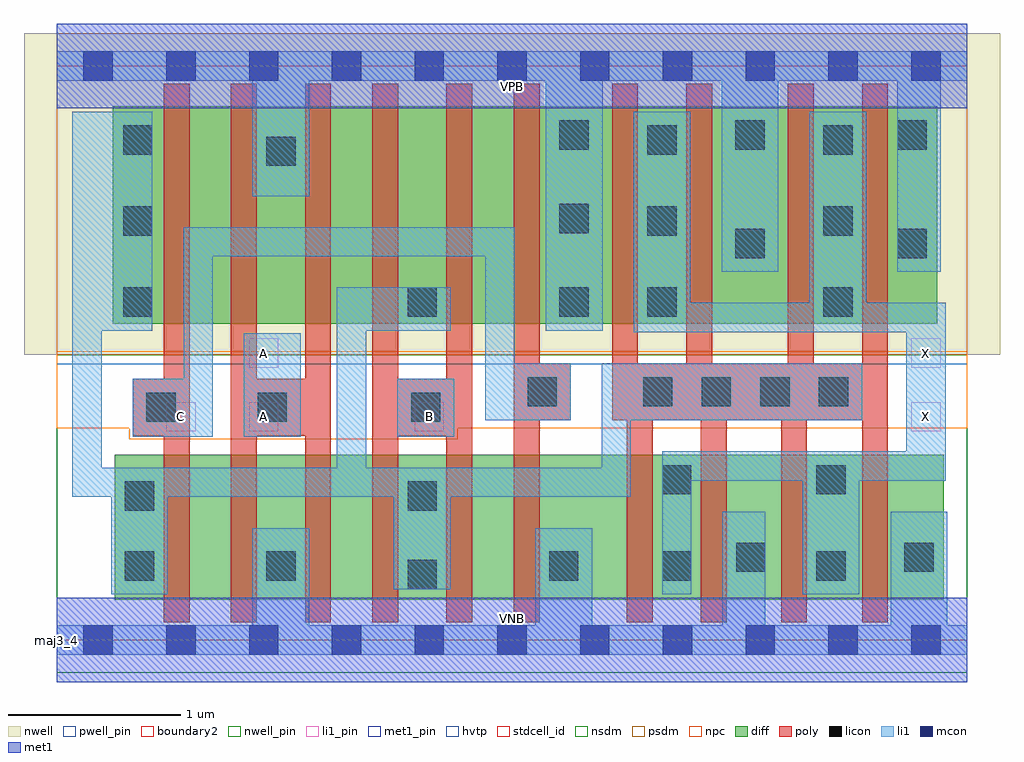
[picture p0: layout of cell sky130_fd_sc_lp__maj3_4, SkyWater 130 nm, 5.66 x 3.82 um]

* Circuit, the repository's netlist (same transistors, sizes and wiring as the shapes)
* Copyright 2020 The SkyWater PDK Authors
*
* Licensed under the Apache License, Version 2.0 (the "License");
* you may not use this file except in compliance with the License.
* You may obtain a copy of the License at
*
*     https://www.apache.org/licenses/LICENSE-2.0
*
* Unless required by applicable law or agreed to in writing, software
* distributed under the License is distributed on an "AS IS" BASIS,
* WITHOUT WARRANTIES OR CONDITIONS OF ANY KIND, either express or implied.
* See the License for the specific language governing permissions and
* limitations under the License.
*
* SPDX-License-Identifier: Apache-2.0

.SUBCKT sky130_fd_sc_lp__maj3_4 A B C VGND VNB VPB VPWR X
*.PININFO A:I B:I C:I VGND:I VNB:I VPB:I VPWR:I X:O
MMIN2 X y VGND VNB sky130_fd_pr__nfet_01v8 m=4 w=0.84U l=0.15U mult=1 sa=0.265
+ sb=0.265 sd=0.28 area=0.063 perim=1.14
MMN10 y B sndNBa VNB sky130_fd_pr__nfet_01v8 m=1 w=0.84U l=0.15U mult=1 sa=0.265
+ sb=0.265 sd=0.28 area=0.063 perim=1.14
MMN11 sndNBa A VGND VNB sky130_fd_pr__nfet_01v8 m=1 w=0.84U l=0.15U mult=1 sa=0.265
+ sb=0.265 sd=0.28 area=0.063 perim=1.14
MMN20 y B sndNBc VNB sky130_fd_pr__nfet_01v8 m=1 w=0.84U l=0.15U mult=1 sa=0.265
+ sb=0.265 sd=0.28 area=0.063 perim=1.14
MMN21 sndNBc C VGND VNB sky130_fd_pr__nfet_01v8 m=1 w=0.84U l=0.15U mult=1 sa=0.265
+ sb=0.265 sd=0.28 area=0.063 perim=1.14
MMN30 y C sndNCa VNB sky130_fd_pr__nfet_01v8 m=1 w=0.84U l=0.15U mult=1 sa=0.265
+ sb=0.265 sd=0.28 area=0.063 perim=1.14
MMN31 sndNCa A VGND VNB sky130_fd_pr__nfet_01v8 m=1 w=0.84U l=0.15U mult=1 sa=0.265
+ sb=0.265 sd=0.28 area=0.063 perim=1.14
MMIP2 X y VPWR VPB sky130_fd_pr__pfet_01v8_hvt m=4 w=1.26U l=0.15U mult=1 sa=0.265
+ sb=0.265 sd=0.28 area=0.063 perim=1.14
MMP10 VPWR A sndPAb VPB sky130_fd_pr__pfet_01v8_hvt m=1 w=1.26U l=0.15U mult=1
+ sa=0.265 sb=0.265 sd=0.28 area=0.063 perim=1.14
MMP11 sndPAb B y VPB sky130_fd_pr__pfet_01v8_hvt m=1 w=1.26U l=0.15U mult=1 sa=0.265
+ sb=0.265 sd=0.28 area=0.063 perim=1.14
MMP20 VPWR C sndPCb VPB sky130_fd_pr__pfet_01v8_hvt m=1 w=1.26U l=0.15U mult=1
+ sa=0.265 sb=0.265 sd=0.28 area=0.063 perim=1.14
MMP21 sndPCb B y VPB sky130_fd_pr__pfet_01v8_hvt m=1 w=1.26U l=0.15U mult=1 sa=0.265
+ sb=0.265 sd=0.28 area=0.063 perim=1.14
MMP30 VPWR A sndPAc VPB sky130_fd_pr__pfet_01v8_hvt m=1 w=1.26U l=0.15U mult=1
+ sa=0.265 sb=0.265 sd=0.28 area=0.063 perim=1.14
MMP31 sndPAc C y VPB sky130_fd_pr__pfet_01v8_hvt m=1 w=1.26U l=0.15U mult=1 sa=0.265
+ sb=0.265 sd=0.28 area=0.063 perim=1.14
.ENDS sky130_fd_sc_lp__maj3_4

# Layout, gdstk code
import gdstk
lib = gdstk.Library(unit=1e-6, precision=1e-09)
def R(c, l, rs):  # rectangles x0, y0, x1, y1
    for r in rs: c.add(gdstk.rectangle(r[:2], r[2:], *l))
def A(c, l, x, y, w, h, nx, ny, dx, dy):  # array of equal rectangles
    R(c, l, [(x+i*dx, y+j*dy, x+i*dx+w, y+j*dy+h) for i in range(nx) for j in range(ny)])
def P(c, l, *ps):  # polygons
    for p in ps: c.add(gdstk.Polygon(p, *l))
nwell_pin = (64, 16)
nwell = (64, 20)
diff = (65, 20)
poly = (66, 20)
licon = (66, 44)
li1_pin = (67, 16)
li1 = (67, 20)
mcon = (67, 44)
met1_pin = (68, 16)
met1 = (68, 20)
hvtp = (78, 44)
stdcell_id = (81, 4)
nsdm = (93, 44)
psdm = (94, 20)
npc = (95, 20)
pwell_pin = (122, 16)
boundary2 = (236, 0)

sky130_fd_sc_lp__maj3_4 = lib.new_cell('sky130_fd_sc_lp__maj3_4')
R(sky130_fd_sc_lp__maj3_4, nwell_pin, [(0,3.085,5.28,3.33)])
R(sky130_fd_sc_lp__maj3_4, nwell, [(-0.19,1.655,5.47,3.52)])
R(sky130_fd_sc_lp__maj3_4, diff, [(0.335,0.235,5.145,1.075), (0.325,1.835,5.105,3.095)])
P(sky130_fd_sc_lp__maj3_4, poly, [(0.77,3.225),(0.62,3.225),(0.62,1.515),(0.44,1.515),(0.44,1.185),(0.62,1.185),(0.62,0.105),(0.77,0.105)],
  [(1.59,3.225),(1.44,3.225),(1.44,1.515),(1.16,1.515),(1.16,3.225),(1.01,3.225),(1.01,0.105),(1.16,0.105),(1.16,1.185),(1.44,1.185),(1.44,0.105),(1.59,0.105)],
  [(2.41,3.225),(2.26,3.225),(2.26,1.515),(1.98,1.515),(1.98,3.225),(1.83,3.225),(1.83,0.105),(1.98,0.105),(1.98,1.185),(2.26,1.185),(2.26,0.105),(2.41,0.105)],
  [(2.98,1.605),(2.8,1.605),(2.8,3.225),(2.65,3.225),(2.65,0.105),(2.8,0.105),(2.8,1.275),(2.98,1.275)],
  [(4.82,3.225),(4.67,3.225),(4.67,1.605),(4.39,1.605),(4.39,3.225),(4.24,3.225),(4.24,1.605),(3.8,1.605),(3.8,3.225),(3.65,3.225),(3.65,1.605),(3.37,1.605),(3.37,3.225),(3.22,3.225),(3.22,1.275),(3.305,1.275),(3.305,0.105),(3.455,0.105),(3.455,1.275),(3.735,1.275),(3.735,0.105),(3.885,0.105),(3.885,1.275),(4.2,1.275),(4.2,0.105),(4.35,0.105),(4.35,1.275),(4.67,1.275),(4.67,0.105),(4.82,0.105)])
A(sky130_fd_sc_lp__maj3_4, licon, 3.4, 1.355, 0.17, 0.17, 4, 1, 0.34, 0)
A(sky130_fd_sc_lp__maj3_4, licon, 0.385, 1.875, 0.17, 0.17, 1, 3, 0, 0.47)
A(sky130_fd_sc_lp__maj3_4, licon, 2.915, 1.875, 0.17, 0.17, 1, 3, 0, 0.485)
A(sky130_fd_sc_lp__maj3_4, licon, 3.425, 1.875, 0.17, 0.17, 1, 3, 0, 0.47)
A(sky130_fd_sc_lp__maj3_4, licon, 4.445, 1.875, 0.17, 0.17, 1, 3, 0, 0.47)
R(sky130_fd_sc_lp__maj3_4, licon, [(2.035,0.295,2.205,0.465), (0.395,0.345,0.565,0.515), (1.215,0.345,1.385,0.515), (2.855,0.345,3.025,0.515), (3.51,0.345,3.68,0.515), (4.405,0.345,4.575,0.515), (3.94,0.395,4.11,0.565), (4.915,0.395,5.085,0.565), (0.395,0.75,0.565,0.92), (2.035,0.75,2.205,0.92), (3.51,0.845,3.68,1.015), (4.405,0.845,4.575,1.015), (0.52,1.265,0.69,1.435), (1.165,1.265,1.335,1.435), (2.055,1.265,2.225,1.435), (2.73,1.355,2.9,1.525), (2.035,1.875,2.205,2.045), (3.935,2.215,4.105,2.385), (4.875,2.215,5.045,2.385), (1.215,2.75,1.385,2.92), (3.935,2.845,4.105,3.015), (4.875,2.845,5.045,3.015)])
R(sky130_fd_sc_lp__maj3_4, li1_pin, [(0.635,1.21,0.805,1.38), (1.115,1.21,1.285,1.38), (2.075,1.21,2.245,1.38), (4.955,1.21,5.125,1.38), (1.115,1.58,1.285,1.75), (4.955,1.58,5.125,1.75)])
R(sky130_fd_sc_lp__maj3_4, li1, [(1.085,1.18,1.415,1.78), (1.975,1.18,2.305,1.515)])
P(sky130_fd_sc_lp__maj3_4, li1, [(4.875,2.135),(4.875,3.245),(4.185,3.245),(4.185,2.135),(3.855,2.135),(3.855,3.245),(3.165,3.245),(3.165,1.795),(2.835,1.795),(2.835,3.245),(1.465,3.245),(1.465,2.575),(1.135,2.575),(1.135,3.245),(0,3.245),(0,3.415),(5.28,3.415),(5.28,3.245),(5.125,3.245),(5.125,2.135)],
  [(1.135,0.085),(1.135,0.65),(1.465,0.65),(1.465,0.085),(2.775,0.085),(2.775,0.65),(3.105,0.65),(3.105,0.085),(3.86,0.085),(3.86,0.745),(4.11,0.745),(4.11,0.085),(4.835,0.085),(4.835,0.745),(5.165,0.745),(5.165,0.085),(5.28,0.085),(5.28,-0.085),(0,-0.085),(0,0.085)],
  [(0.44,1.18),(0.44,1.515),(0.735,1.515),(0.735,2.395),(2.655,2.395),(2.655,1.605),(2.98,1.605),(2.98,1.275),(2.485,1.275),(2.485,2.225),(0.905,2.225),(0.905,1.18)],
  [(4.925,1.095),(4.925,1.785),(3.345,1.785),(3.345,3.065),(3.675,3.065),(3.675,1.955),(4.365,1.955),(4.365,3.065),(4.695,3.065),(4.695,1.955),(5.155,1.955),(5.155,0.925),(4.655,0.925),(4.655,0.265),(4.325,0.265),(4.325,0.925),(3.68,0.925),(3.68,0.265),(3.51,0.265),(3.51,1.095)],
  [(3.16,1.605),(4.67,1.605),(4.67,1.275),(3.33,1.275),(3.33,0.83),(2.285,0.83),(2.285,0.295),(1.955,0.295),(1.955,0.83),(0.645,0.83),(0.645,0.265),(0.315,0.265),(0.315,0.83),(0.09,0.83),(0.09,3.065),(0.555,3.065),(0.555,1.795),(0.26,1.795),(0.26,1),(1.625,1),(1.625,2.045),(2.285,2.045),(2.285,1.795),(1.795,1.795),(1.795,1),(3.16,1)])
A(sky130_fd_sc_lp__maj3_4, mcon, 0.155, -0.085, 0.17, 0.17, 11, 2, 0.48, 3.33)
R(sky130_fd_sc_lp__maj3_4, met1_pin, [(0,0,5.28,0.245), (0,3.085,5.28,3.33)])
R(sky130_fd_sc_lp__maj3_4, met1, [(0,-0.245,5.28,0.245), (0,3.085,5.28,3.575)])
R(sky130_fd_sc_lp__maj3_4, hvtp, [(0,1.6,5.28,3.33)])
R(sky130_fd_sc_lp__maj3_4, stdcell_id, [(0,0,5.28,3.33)])
R(sky130_fd_sc_lp__maj3_4, nsdm, [(0,-0.19,5.28,1.655)])
R(sky130_fd_sc_lp__maj3_4, psdm, [(0,1.655,5.28,3.52)])
P(sky130_fd_sc_lp__maj3_4, npc, [(5.28,1.675),(0,1.675),(0,1.23),(0.42,1.23),(0.42,1.165),(2.325,1.165),(2.325,1.23),(5.28,1.23)])
R(sky130_fd_sc_lp__maj3_4, pwell_pin, [(0,0,5.28,0.245)])
R(sky130_fd_sc_lp__maj3_4, boundary2, [(0,0,5.28,3.33)])
sky130_fd_sc_lp__maj3_4.add(gdstk.Label('VNB', (2.64,0.123), layer=64, texttype=59))
sky130_fd_sc_lp__maj3_4.add(gdstk.Label('VPB', (2.64,3.208), layer=64, texttype=5))
sky130_fd_sc_lp__maj3_4.add(gdstk.Label('maj3_4', (0,0), layer=83, texttype=44))
sky130_fd_sc_lp__maj3_4.add(gdstk.Label('VPWR', (2.64,3.208), layer=68, texttype=5))
sky130_fd_sc_lp__maj3_4.add(gdstk.Label('VGND', (2.64,0.123), layer=68, texttype=5))
sky130_fd_sc_lp__maj3_4.add(gdstk.Label('A', (1.2,1.295), layer=67, texttype=5))
sky130_fd_sc_lp__maj3_4.add(gdstk.Label('A', (1.2,1.665), layer=67, texttype=5))
sky130_fd_sc_lp__maj3_4.add(gdstk.Label('B', (2.16,1.295), layer=67, texttype=5))
sky130_fd_sc_lp__maj3_4.add(gdstk.Label('C', (0.72,1.295), layer=67, texttype=5))
sky130_fd_sc_lp__maj3_4.add(gdstk.Label('X', (5.04,1.295), layer=67, texttype=5))
sky130_fd_sc_lp__maj3_4.add(gdstk.Label('X', (5.04,1.665), layer=67, texttype=5))

lib.write_gds('sky130_fd_sc_lp__maj3_4.gds')
